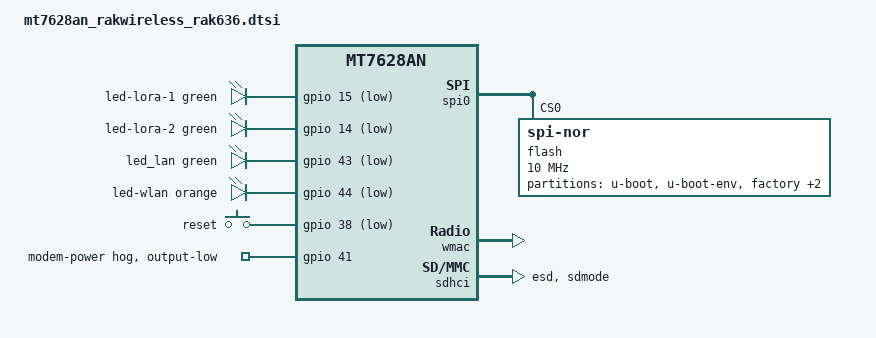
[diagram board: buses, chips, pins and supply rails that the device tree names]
// SPDX-License-Identifier: GPL-2.0-or-later OR MIT

#include "mt7628an.dtsi"

#include <dt-bindings/gpio/gpio.h>
#include <dt-bindings/input/input.h>
#include <dt-bindings/leds/common.h>

/ {
	aliases {
		led-boot = &led_lan;
		led-failsafe = &led_lan;
		led-upgrade = &led_lan;
		label-mac-device = &ethernet;
	};

	leds {
		compatible = "gpio-leds";

		led-lora-1 {
			color = <LED_COLOR_ID_GREEN>;
			function = "lora";
			function-enumerator = <1>;
			gpios = <&gpio 15 GPIO_ACTIVE_LOW>;
		};

		led-lora-2 {
			color = <LED_COLOR_ID_GREEN>;
			function = "lora";
			function-enumerator = <2>;
			gpios = <&gpio 14 GPIO_ACTIVE_LOW>;
		};

		led_lan: led-lan {
			color = <LED_COLOR_ID_GREEN>;
			function = LED_FUNCTION_LAN;
			gpios = <&gpio 43 GPIO_ACTIVE_LOW>;
		};

		led-wlan {
			color = <LED_COLOR_ID_ORANGE>;
			function = LED_FUNCTION_WLAN;
			gpios = <&gpio 44 GPIO_ACTIVE_LOW>;
		};
	};

	keys: keys {
		compatible = "gpio-keys";

		key-reset {
			label = "reset";
			gpios = <&gpio 38 GPIO_ACTIVE_LOW>;
			linux,code = <KEY_RESTART>;
		};
	};
};

&gpio {
	/* Low powers the EG95. */
	modem-power-hog {
		gpio-hog;
		gpios = <41 GPIO_ACTIVE_HIGH>;
		output-low;
		line-name = "modem-power";
	};
};

&state_default {
	gpio {
		groups = "gpio", "i2s", "spis", "wdt", "wled_an",
			 "p0led_an", "p1led_an", "p2led_an", "p3led_an", "p4led_an";
		function = "gpio";
	};
};

&spi0 {
	status = "okay";

	flash@0 {
		compatible = "jedec,spi-nor";
		reg = <0>;
		spi-max-frequency = <10000000>;

		partitions {
			compatible = "fixed-partitions";
			#address-cells = <1>;
			#size-cells = <1>;

			partition@0 {
				label = "u-boot";
				reg = <0x0 0x30000>;
				read-only;
			};

			partition@30000 {
				label = "u-boot-env";
				reg = <0x30000 0x10000>;
			};

			partition@40000 {
				label = "factory";
				reg = <0x40000 0xe000>;
				read-only;

				nvmem-layout {
					compatible = "fixed-layout";
					#address-cells = <1>;
					#size-cells = <1>;

					eeprom_factory_0: eeprom@0 {
						reg = <0x0 0x400>;
					};

					macaddr_factory_28: macaddr@28 {
						reg = <0x28 0x6>;
					};

					macaddr_factory_2e: macaddr@2e {
						reg = <0x2e 0x6>;
					};
				};
			};

			/* The vendor's per-unit data, kept for a return to stock. */
			partition@4e000 {
				label = "pst-data";
				reg = <0x4e000 0x2000>;
				read-only;
			};

			partition@50000 {
				compatible = "denx,uimage";
				label = "firmware";
				reg = <0x50000 0x1fb0000>;
			};
		};
	};
};

&ethernet {
	nvmem-cells = <&macaddr_factory_28>;
	nvmem-cell-names = "mac-address";
};

&wmac {
	status = "okay";

	nvmem-cells = <&eeprom_factory_0>, <&macaddr_factory_2e>;
	nvmem-cell-names = "eeprom", "mac-address";
};

/*
 * The SD slot is wired to the ethernet PHY's P1-P4 pads, which is why the
 * board has one ethernet port.
 */
&pinctrl {
	ephy-digital;

	sdxc_iot_mode: sdxc_iot_mode {
		esd {
			groups = "esd";
			function = "iot";
		};

		sdxc {
			groups = "sdmode";
			function = "sdxc";
		};
	};
};

&sdhci {
	status = "okay";

	pinctrl-0 = <&sdxc_iot_mode>;
	pinctrl-1 = <&sdxc_iot_mode>;
};
